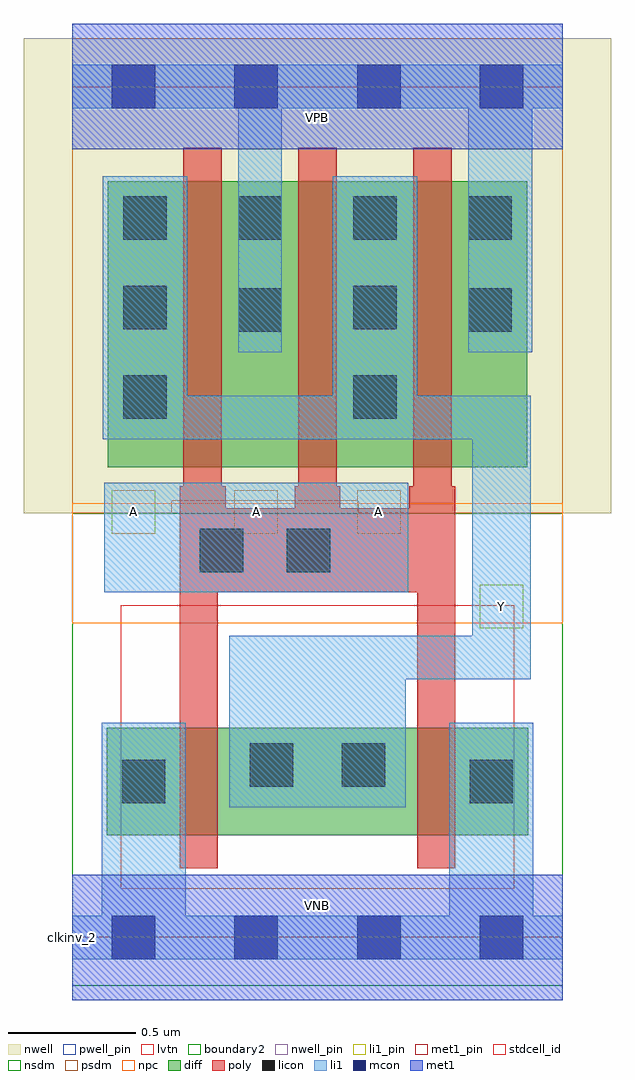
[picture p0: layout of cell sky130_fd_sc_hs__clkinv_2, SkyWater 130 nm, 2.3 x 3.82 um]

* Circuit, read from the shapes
.subckt sky130_fd_sc_hs__clkinv_2 A VGND VNB VPB VPWR Y
XM1 Y A VGND VNB sky130_fd_pr__nfet_01v8_lvt w=0.42 l=0.15 m=2
XM2 VPWR A Y VPB sky130_fd_pr__pfet_01v8 w=1.12 l=0.15 m=3
.ends

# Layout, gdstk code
import gdstk
lib = gdstk.Library(unit=1e-6, precision=1e-09)
def R(c, l, rs):  # rectangles x0, y0, x1, y1
    for r in rs: c.add(gdstk.rectangle(r[:2], r[2:], *l))
def A(c, l, x, y, w, h, nx, ny, dx, dy):  # array of equal rectangles
    R(c, l, [(x+i*dx, y+j*dy, x+i*dx+w, y+j*dy+h) for i in range(nx) for j in range(ny)])
def P(c, l, *ps):  # polygons
    for p in ps: c.add(gdstk.Polygon(p, *l))
nwell_pin = (64, 16)
nwell = (64, 20)
diff = (65, 20)
poly = (66, 20)
licon = (66, 44)
li1_pin = (67, 16)
li1 = (67, 20)
mcon = (67, 44)
met1_pin = (68, 16)
met1 = (68, 20)
stdcell_id = (81, 4)
nsdm = (93, 44)
psdm = (94, 20)
npc = (95, 20)
pwell_pin = (122, 16)
lvtn = (125, 44)
boundary2 = (236, 0)

sky130_fd_sc_hs__clkinv_ = lib.new_cell('sky130_fd_sc_hs__clkinv_2')
R(sky130_fd_sc_hs__clkinv_, nwell_pin, [(0,3.085,1.92,3.33)])
R(sky130_fd_sc_hs__clkinv_, nwell, [(-0.19,1.66,2.11,3.52)])
R(sky130_fd_sc_hs__clkinv_, diff, [(0.135,0.4,1.785,0.82), (0.14,1.84,1.78,2.96)])
P(sky130_fd_sc_hs__clkinv_, poly, [(1.5,1.765),(1.485,1.765),(1.485,3.09),(1.335,3.09),(1.335,1.765),(1.32,1.765),(1.32,1.68),(1.05,1.68),(1.05,1.765),(1.035,1.765),(1.035,3.09),(0.885,3.09),(0.885,1.765),(0.87,1.765),(0.87,1.68),(0.6,1.68),(0.6,1.765),(0.585,1.765),(0.585,3.09),(0.435,3.09),(0.435,1.765),(0.42,1.765),(0.42,0.27),(0.57,0.27),(0.57,1.35),(1.35,1.35),(1.35,0.27),(1.5,0.27)])
A(sky130_fd_sc_hs__clkinv_, licon, 0.2, 2.73, 0.17, 0.17, 4, 1, 0.45, 0)
R(sky130_fd_sc_hs__clkinv_, licon, [(0.195,0.525,0.365,0.695), (1.555,0.525,1.725,0.695), (0.695,0.59,0.865,0.76), (1.055,0.59,1.225,0.76), (0.5,1.43,0.67,1.6), (0.84,1.43,1.01,1.6), (0.2,2.03,0.37,2.2), (1.1,2.03,1.27,2.2), (0.65,2.37,0.82,2.54), (1.55,2.37,1.72,2.54), (0.2,2.38,0.37,2.55), (1.1,2.38,1.27,2.55)])
A(sky130_fd_sc_hs__clkinv_, li1_pin, 0.155, 1.58, 0.17, 0.17, 3, 1, 0.48, 0)
R(sky130_fd_sc_hs__clkinv_, li1_pin, [(1.595,1.21,1.765,1.38)])
R(sky130_fd_sc_hs__clkinv_, li1, [(0.125,1.35,1.315,1.78)])
P(sky130_fd_sc_hs__clkinv_, li1, [(0,-0.085),(0,0.085),(0.115,0.085),(0.115,0.84),(0.445,0.84),(0.445,0.085),(1.475,0.085),(1.475,0.84),(1.805,0.84),(1.805,0.085),(1.92,0.085),(1.92,-0.085)],
  [(0,3.245),(0,3.415),(1.92,3.415),(1.92,3.245),(1.8,3.245),(1.8,2.29),(1.55,2.29),(1.55,3.245),(0.82,3.245),(0.82,2.29),(0.65,2.29),(0.65,3.245)],
  [(1.305,1.01),(1.305,0.51),(0.615,0.51),(0.615,1.18),(1.565,1.18),(1.565,1.95),(0.12,1.95),(0.12,2.98),(0.45,2.98),(0.45,2.12),(1.02,2.12),(1.02,2.98),(1.35,2.98),(1.35,2.12),(1.795,2.12),(1.795,1.01)])
A(sky130_fd_sc_hs__clkinv_, mcon, 0.155, -0.085, 0.17, 0.17, 4, 2, 0.48, 3.33)
R(sky130_fd_sc_hs__clkinv_, met1_pin, [(0,0,1.92,0.245), (0,3.085,1.92,3.33)])
R(sky130_fd_sc_hs__clkinv_, met1, [(0,-0.245,1.92,0.245), (0,3.085,1.92,3.575)])
R(sky130_fd_sc_hs__clkinv_, stdcell_id, [(0,0,1.92,3.33)])
R(sky130_fd_sc_hs__clkinv_, nsdm, [(0,-0.19,1.92,1.66)])
P(sky130_fd_sc_hs__clkinv_, psdm, [(1.92,3.52),(0,3.52),(0,1.66),(0.39,1.66),(0.39,1.71),(1.12,1.71),(1.12,1.66),(1.92,1.66)])
R(sky130_fd_sc_hs__clkinv_, npc, [(0,1.23,1.92,1.7)])
R(sky130_fd_sc_hs__clkinv_, pwell_pin, [(0,0,1.92,0.245)])
R(sky130_fd_sc_hs__clkinv_, lvtn, [(0.19,0.19,1.73,1.3)])
R(sky130_fd_sc_hs__clkinv_, boundary2, [(0,0,1.92,3.33)])
sky130_fd_sc_hs__clkinv_.add(gdstk.Label('clkinv_2', (0,0), layer=83, texttype=44))
sky130_fd_sc_hs__clkinv_.add(gdstk.Label('VNB', (0.96,0.123), layer=64, texttype=59))
sky130_fd_sc_hs__clkinv_.add(gdstk.Label('VPB', (0.96,3.208), layer=64, texttype=5))
sky130_fd_sc_hs__clkinv_.add(gdstk.Label('VPWR', (0.96,3.208), layer=68, texttype=5))
sky130_fd_sc_hs__clkinv_.add(gdstk.Label('VGND', (0.96,0.123), layer=68, texttype=5))
sky130_fd_sc_hs__clkinv_.add(gdstk.Label('Y', (1.68,1.295), layer=67, texttype=5))
sky130_fd_sc_hs__clkinv_.add(gdstk.Label('A', (0.24,1.665), layer=67, texttype=5))
sky130_fd_sc_hs__clkinv_.add(gdstk.Label('A', (0.72,1.665), layer=67, texttype=5))
sky130_fd_sc_hs__clkinv_.add(gdstk.Label('A', (1.2,1.665), layer=67, texttype=5))

lib.write_gds('sky130_fd_sc_hs__clkinv_2.gds')
